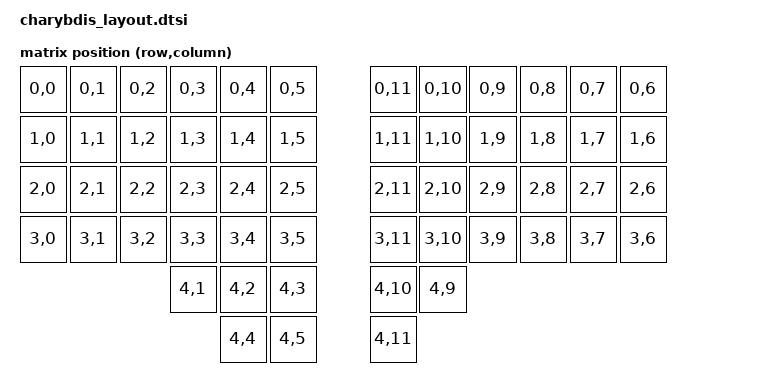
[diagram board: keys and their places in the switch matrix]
#include <dt-bindings/zmk/matrix_transform.h>

#include <physical_layouts.dtsi>

/ {
    physical_layout_0: physical_layout_0 {
        compatible = "zmk,physical-layout";
        display-name = "default_transform";

        transform = <&default_transform>;

        keys  //                     w   h    x    y     rot    rx    ry
            = <&key_physical_attrs 100 100    0    0       0     0     0>
            , <&key_physical_attrs 100 100  100    0       0     0     0>
            , <&key_physical_attrs 100 100  200    0       0     0     0>
            , <&key_physical_attrs 100 100  300    0       0     0     0>
            , <&key_physical_attrs 100 100  400    0       0     0     0>
            , <&key_physical_attrs 100 100  500    0       0     0     0>
            , <&key_physical_attrs 100 100  700    0       0     0     0>
            , <&key_physical_attrs 100 100  800    0       0     0     0>
            , <&key_physical_attrs 100 100  900    0       0     0     0>
            , <&key_physical_attrs 100 100 1000    0       0     0     0>
            , <&key_physical_attrs 100 100 1100    0       0     0     0>
            , <&key_physical_attrs 100 100 1200    0       0     0     0>
            , <&key_physical_attrs 100 100    0  100       0     0     0>
            , <&key_physical_attrs 100 100  100  100       0     0     0>
            , <&key_physical_attrs 100 100  200  100       0     0     0>
            , <&key_physical_attrs 100 100  300  100       0     0     0>
            , <&key_physical_attrs 100 100  400  100       0     0     0>
            , <&key_physical_attrs 100 100  500  100       0     0     0>
            , <&key_physical_attrs 100 100  700  100       0     0     0>
            , <&key_physical_attrs 100 100  800  100       0     0     0>
            , <&key_physical_attrs 100 100  900  100       0     0     0>
            , <&key_physical_attrs 100 100 1000  100       0     0     0>
            , <&key_physical_attrs 100 100 1100  100       0     0     0>
            , <&key_physical_attrs 100 100 1200  100       0     0     0>
            , <&key_physical_attrs 100 100    0  200       0     0     0>
            , <&key_physical_attrs 100 100  100  200       0     0     0>
            , <&key_physical_attrs 100 100  200  200       0     0     0>
            , <&key_physical_attrs 100 100  300  200       0     0     0>
            , <&key_physical_attrs 100 100  400  200       0     0     0>
            , <&key_physical_attrs 100 100  500  200       0     0     0>
            , <&key_physical_attrs 100 100  700  200       0     0     0>
            , <&key_physical_attrs 100 100  800  200       0     0     0>
            , <&key_physical_attrs 100 100  900  200       0     0     0>
            , <&key_physical_attrs 100 100 1000  200       0     0     0>
            , <&key_physical_attrs 100 100 1100  200       0     0     0>
            , <&key_physical_attrs 100 100 1200  200       0     0     0>
            , <&key_physical_attrs 100 100    0  300       0     0     0>
            , <&key_physical_attrs 100 100  100  300       0     0     0>
            , <&key_physical_attrs 100 100  200  300       0     0     0>
            , <&key_physical_attrs 100 100  300  300       0     0     0>
            , <&key_physical_attrs 100 100  400  300       0     0     0>
            , <&key_physical_attrs 100 100  500  300       0     0     0>
            , <&key_physical_attrs 100 100  700  300       0     0     0>
            , <&key_physical_attrs 100 100  800  300       0     0     0>
            , <&key_physical_attrs 100 100  900  300       0     0     0>
            , <&key_physical_attrs 100 100 1000  300       0     0     0>
            , <&key_physical_attrs 100 100 1100  300       0     0     0>
            , <&key_physical_attrs 100 100 1200  300       0     0     0>
            , <&key_physical_attrs 100 100  300  400       0     0     0>
            , <&key_physical_attrs 100 100  400  400       0     0     0>
            , <&key_physical_attrs 100 100  500  400       0     0     0>
            , <&key_physical_attrs 100 100  700  400       0     0     0>
            , <&key_physical_attrs 100 100  800  400       0     0     0>
            , <&key_physical_attrs 100 100  400  500       0     0     0>
            , <&key_physical_attrs 100 100  500  500       0     0     0>
            , <&key_physical_attrs 100 100  700  500       0     0     0>
            ;
    };
};

/ {
    chosen {
        zmk,physical-layout = &physical_layout_0;
    };

    default_transform: keymap_transform_0 {
		compatible = "zmk,matrix-transform";
        columns = <12>;
        rows = <5>;

        map = <
			RC(0,0) RC(0,1) RC(0,2) RC(0,3) RC(0,4) RC(0,5)                   RC(0,11) RC(0,10) RC(0,9) RC(0,8) RC(0,7) RC(0,6)
			RC(1,0) RC(1,1) RC(1,2) RC(1,3) RC(1,4) RC(1,5)                   RC(1,11) RC(1,10) RC(1,9) RC(1,8) RC(1,7) RC(1,6)
			RC(2,0) RC(2,1) RC(2,2) RC(2,3) RC(2,4) RC(2,5)                   RC(2,11) RC(2,10) RC(2,9) RC(2,8) RC(2,7) RC(2,6)
			RC(3,0) RC(3,1) RC(3,2) RC(3,3) RC(3,4) RC(3,5)                   RC(3,11) RC(3,10) RC(3,9) RC(3,8) RC(3,7) RC(3,6)
					                RC(4,1) RC(4,2) RC(4,3)                   RC(4,10)  RC(4,9)
									        RC(4,4) RC(4,5)                   RC(4,11) 
        >;
    };
};

/ {
    behaviors {
        /*
         * Runtime CPI cycling. Declared for every target, not just the half
         * that has the sensor, because the keymap is shared and a binding
         * cannot reference a node that some builds lack. Only
         * charybdis_right.overlay attaches sensor_device; elsewhere the
         * behavior tracks the index and does nothing, which the fork of the
         * module allows.
         *
         * attr 0 is PMW3610_ALT_ATTR_CPI, the first value of the driver's
         * enum pmw3610_alt_attribute. It has no dt-binding header to include.
         *
         * 400 matches the cpi property in charybdis_right.overlay, so the
         * cycle passes through where the sensor starts. Snipe scales from
         * whichever value is selected, so it follows along.
         *
         * The spread is deliberately wide while this is being verified: 200
         * against 1600 is eight times, which cannot be mistaken for no change.
         * Narrow it once stepping is known to work.
         *
         * Not persisted. Writing every step to flash buys little -- starting
         * from the overlay's cpi on each boot is easier to reason about -- and
         * it keeps one fewer thing in play.
         */
        dpi: dpi_cycle {
            compatible = "zmk,behavior-sensor-attr-cycle";
            #binding-cells = <1>;
            attr = <0>;
            values = <400 800 1600 200>;
        };
    };
};
